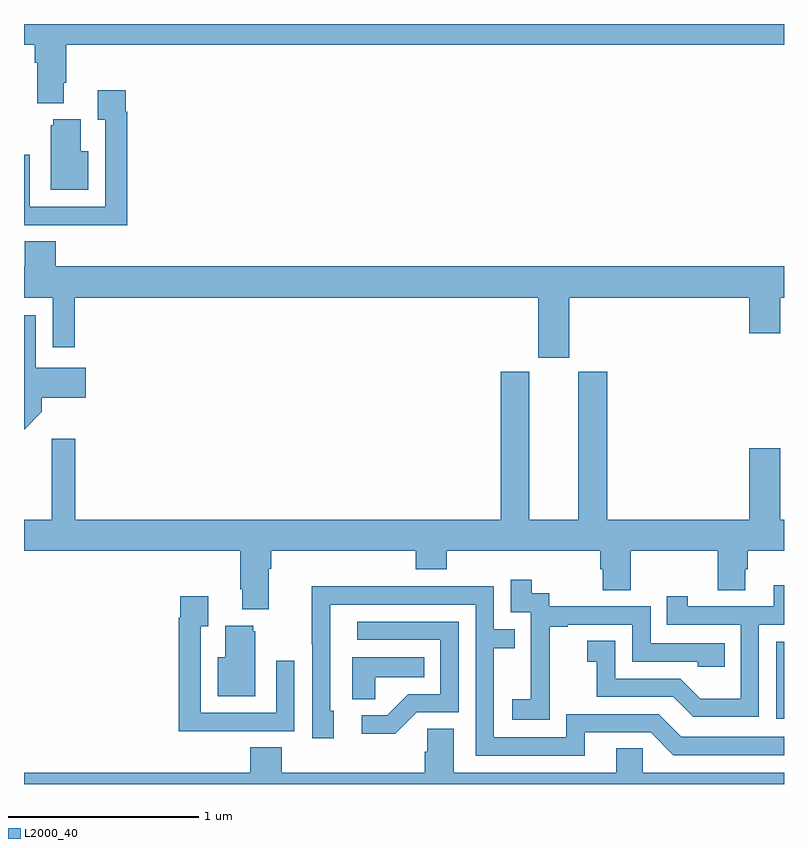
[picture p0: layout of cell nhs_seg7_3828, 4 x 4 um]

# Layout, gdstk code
import gdstk
lib = gdstk.Library(unit=1e-6, precision=1e-09)
def R(c, l, rs):  # rectangles x0, y0, x1, y1
    for r in rs: c.add(gdstk.rectangle(r[:2], r[2:], *l))
def P(c, l, *ps):  # polygons
    for p in ps: c.add(gdstk.Polygon(p, *l))
L2000_40 = (2000, 40)

nhs_seg7_3828 = lib.new_cell('nhs_seg7_3828')
R(nhs_seg7_3828, L2000_40, [(356.958,1054.344,357,1054.749)])
P(nhs_seg7_3828, L2000_40, [(353.209,1057.69),(353.222,1057.69),(353.222,1057.892),(357,1057.892),(357,1058),(353,1058),(353,1057.892),(353.057,1057.892),(353.057,1057.796),(353.069,1057.796),(353.069,1057.583),(353.209,1057.583)],
  [(353.543,1057.538),(353.536,1057.538),(353.536,1057.651),(353.387,1057.651),(353.387,1057.495),(353.427,1057.495),(353.427,1057.038),(353.031,1057.038),(353.031,1057.312),(353,1057.312),(353,1056.942),(353.251,1056.942),(353.251,1056.941),(353.543,1056.941)],
  [(353.338,1057.33),(353.299,1057.33),(353.299,1057.498),(353.153,1057.498),(353.153,1057.467),(353.141,1057.467),(353.141,1057.127),(353.338,1057.127)],
  [(355.87,1056.56),(356.816,1056.56),(356.816,1056.372),(356.98,1056.372),(356.98,1056.56),(357,1056.56),(357,1056.724),(353.168,1056.724),(353.168,1056.857),(353.003,1056.857),(353.003,1056.724),(353,1056.724),(353,1056.56),(353.151,1056.56),(353.151,1056.3),(353.267,1056.3),(353.267,1056.56),(355.706,1056.56),(355.706,1056.243),(355.87,1056.243)],
  [(353.093,1055.958),(353.093,1056.032),(353.326,1056.032),(353.326,1056.19),(353.062,1056.19),(353.062,1056.466),(353,1056.466),(353,1055.865)],
  [(354.289,1055.132),(354.302,1055.132),(354.302,1055.228),(355.061,1055.228),(355.061,1055.129),(355.226,1055.129),(355.226,1055.228),(356.033,1055.228),(356.033,1055.13),(356.045,1055.13),(356.045,1055.02),(356.193,1055.02),(356.193,1055.228),(356.65,1055.228),(356.65,1055.02),(356.797,1055.02),(356.797,1055.13),(356.81,1055.13),(356.81,1055.228),(357,1055.228),(357,1055.392),(356.98,1055.392),(356.98,1055.767),(356.816,1055.767),(356.816,1055.392),(356.069,1055.392),(356.069,1056.171),(355.916,1056.171),(355.916,1055.392),(355.66,1055.392),(355.66,1056.171),(355.508,1056.171),(355.508,1055.392),(353.27,1055.392),(353.27,1055.818),(353.147,1055.818),(353.147,1055.392),(353,1055.392),(353,1055.228),(354.137,1055.228),(354.137,1055.026),(354.149,1055.026),(354.149,1054.919),(354.289,1054.919)],
  [(355.767,1054.543),(355.766,1054.543),(355.766,1054.827),(355.861,1054.827),(355.861,1054.839),(356.202,1054.839),(356.202,1054.644),(356.547,1054.644),(356.547,1054.617),(356.687,1054.617),(356.687,1054.74),(356.298,1054.74),(356.298,1054.935),(355.764,1054.935),(355.764,1055.004),(355.672,1055.004),(355.672,1055.074),(355.563,1055.074),(355.563,1054.905),(355.668,1054.905),(355.668,1054.676),(355.667,1054.676),(355.667,1054.447),(355.569,1054.447),(355.569,1054.337),(355.767,1054.337)],
  [(356.868,1054.839),(357,1054.839),(357,1055.047),(356.945,1055.047),(356.945,1054.935),(356.494,1054.935),(356.494,1054.987),(356.383,1054.987),(356.383,1054.839),(356.772,1054.839),(356.772,1054.45),(356.558,1054.45),(356.454,1054.554),(356.112,1054.554),(356.112,1054.753),(355.965,1054.753),(355.965,1054.643),(356.014,1054.643),(356.014,1054.458),(356.417,1054.458),(356.522,1054.353),(356.868,1054.353)],
  [(355.951,1054.272),(356.298,1054.272),(356.418,1054.152),(357,1054.152),(357,1054.248),(356.46,1054.248),(356.34,1054.368),(355.854,1054.368),(355.854,1054.245),(355.473,1054.245),(355.473,1054.714),(355.583,1054.714),(355.583,1054.815),(355.473,1054.815),(355.473,1055.04),(354.977,1055.04),(354.977,1055.042),(354.514,1055.042),(354.514,1054.735),(354.516,1054.735),(354.516,1054.242),(354.631,1054.242),(354.631,1054.386),(354.612,1054.386),(354.612,1054.944),(355.377,1054.944),(355.377,1054.149),(355.951,1054.149)],
  [(354.107,1054.278),(354.423,1054.278),(354.423,1054.648),(354.327,1054.648),(354.327,1054.374),(353.931,1054.374),(353.931,1054.831),(353.971,1054.831),(353.971,1054.987),(353.823,1054.987),(353.823,1054.874),(353.815,1054.874),(353.815,1054.277),(354.107,1054.277)],
  [(355.068,1054.377),(355.287,1054.377),(355.287,1054.854),(354.753,1054.854),(354.753,1054.758),(355.191,1054.758),(355.191,1054.473),(355.022,1054.473),(354.911,1054.362),(354.777,1054.362),(354.777,1054.265),(354.955,1054.265)],
  [(354.217,1054.803),(354.206,1054.803),(354.206,1054.834),(354.059,1054.834),(354.059,1054.666),(354.02,1054.666),(354.02,1054.463),(354.217,1054.463)],
  [(354.849,1054.562),(355.106,1054.562),(355.106,1054.666),(354.728,1054.666),(354.728,1054.447),(354.849,1054.447)],
  [(357,1054.06),(356.256,1054.06),(356.256,1054.187),(356.117,1054.187),(356.117,1054.06),(355.261,1054.06),(355.261,1054.292),(355.122,1054.292),(355.122,1054.169),(355.109,1054.169),(355.109,1054.06),(354.356,1054.06),(354.356,1054.193),(354.191,1054.193),(354.191,1054.06),(353,1054.06),(353,1054),(357,1054)])

lib.write_gds('nhs_seg7_3828.gds')
